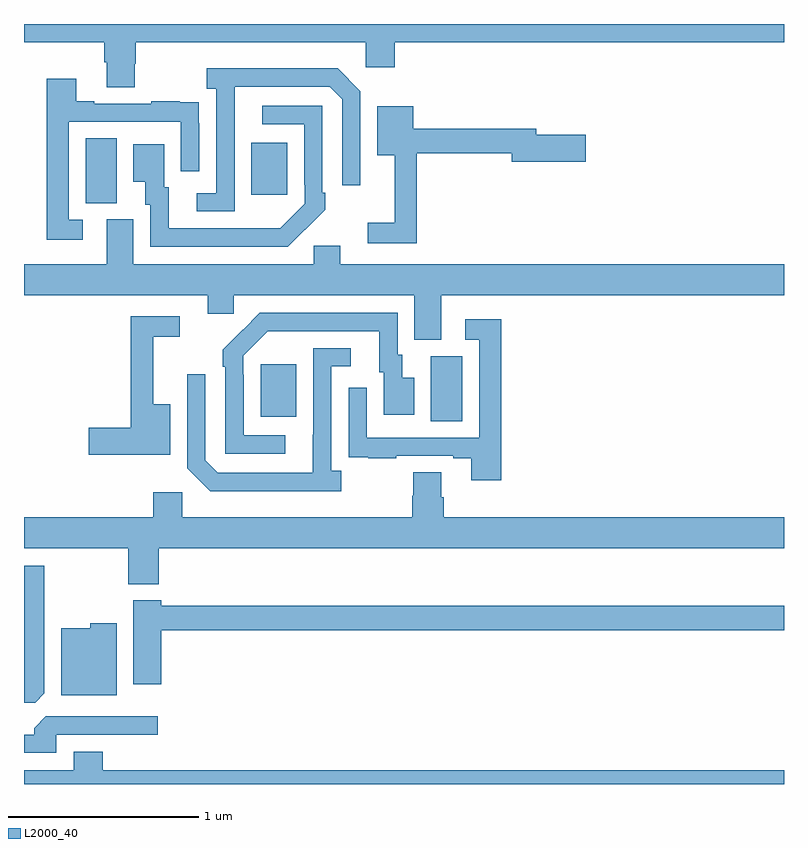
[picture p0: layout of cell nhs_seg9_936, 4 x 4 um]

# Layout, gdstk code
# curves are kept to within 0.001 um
import gdstk
lib = gdstk.Library(unit=1e-6, precision=1e-09)
def R(c, l, rs):  # rectangles x0, y0, x1, y1
    for r in rs: c.add(gdstk.rectangle(r[:2], r[2:], *l))
def P(c, l, *ps):  # polygons
    for p in ps: c.add(gdstk.Polygon(p, *l))
L2000_40 = (2000, 40)

nhs_seg9_936 = lib.new_cell('nhs_seg9_936')
R(nhs_seg9_936, L2000_40, [(163.142,1210.408,163.306,1210.752), (162.245,1210.433,162.433,1210.708), (161.324,1211.557,161.488,1211.9), (162.197,1211.601,162.385,1211.875)])
P(nhs_seg9_936, L2000_40, [(161.583,1212.291),(161.588,1212.291),(161.588,1212.404),(162.798,1212.404),(162.798,1212.273),(162.95,1212.273),(162.95,1212.404),(165,1212.404),(165,1212.5),(161,1212.5),(161,1212.404),(161.423,1212.404),(161.423,1212.298),(161.435,1212.298),(161.435,1212.166),(161.583,1212.166)],
  [(162.108,1211.971),(162.109,1212.171),(162.609,1212.171),(162.675,1212.105),(162.675,1211.652),(162.771,1211.652),(162.771,1212.147),(162.65,1212.268),(161.961,1212.268),(161.961,1212.158),(162.012,1212.158),(162.012,1211.61),(161.91,1211.61),(161.91,1211.514),(162.108,1211.514)],
  [(161.308,1211.469),(161.235,1211.469),(161.235,1211.985),(161.826,1211.985),(161.826,1211.724),(161.922,1211.724),(161.922,1211.978),(161.921,1211.978),(161.921,1212.087),(161.819,1212.087),(161.819,1212.094),(161.671,1212.094),(161.671,1212.081),(161.371,1212.081),(161.371,1212.094),(161.275,1212.094),(161.275,1212.211),(161.119,1212.211),(161.119,1211.364),(161.308,1211.364)],
  [(162.479,1211.419),(162.48,1211.418),(162.585,1211.523),(162.585,1211.611),(162.57,1211.611),(162.57,1212.069),(162.255,1212.069),(162.255,1211.973),(162.474,1211.973),(162.474,1211.653),(162.477,1211.653),(162.477,1211.553),(162.349,1211.425),(161.761,1211.424),(161.761,1211.64),(161.737,1211.64),(161.737,1211.866),(161.576,1211.866),(161.576,1211.669),(161.639,1211.669),(161.639,1211.55),(161.664,1211.55),(161.664,1211.328),(162.388,1211.328)],
  [(163.067,1211.821),(163.568,1211.821),(163.568,1211.774),(163.957,1211.774),(163.957,1211.916),(163.696,1211.916),(163.696,1211.95),(163.048,1211.95),(163.048,1212.067),(162.86,1212.067),(162.86,1211.81),(162.95,1211.81),(162.95,1211.455),(162.81,1211.455),(162.81,1211.346),(163.067,1211.346)],
  [(162.664,1211.334),(162.525,1211.334),(162.525,1211.236),(161.575,1211.236),(161.575,1211.472),(161.435,1211.472),(161.435,1211.236),(161,1211.236),(161,1211.072),(161.966,1211.072),(161.966,1210.974),(162.105,1210.974),(162.105,1211.072),(163.055,1211.072),(163.055,1210.837),(163.195,1210.837),(163.195,1211.072),(165,1211.072),(165,1211.236),(162.664,1211.236)],
  [(162.376,1210.335),(162.156,1210.335),(162.156,1210.655),(162.153,1210.655),(162.153,1210.755),(162.282,1210.884),(162.869,1210.884),(162.869,1210.668),(162.893,1210.668),(162.893,1210.443),(163.054,1210.443),(163.054,1210.639),(162.991,1210.639),(162.991,1210.758),(162.966,1210.758),(162.966,1210.98),(162.242,1210.98),(162.045,1210.785),(162.045,1210.697),(162.06,1210.697),(162.06,1210.239),(162.376,1210.239)],
  [(161.77,1210.498),(161.681,1210.498),(161.681,1210.854),(161.821,1210.854),(161.821,1210.962),(161.563,1210.962),(161.563,1210.376),(161.34,1210.376),(161.34,1210.234),(161.77,1210.234)],
  [(163.511,1210.945),(163.323,1210.945),(163.323,1210.839),(163.395,1210.839),(163.395,1210.323),(162.804,1210.323),(162.804,1210.585),(162.708,1210.585),(162.708,1210.33),(162.709,1210.33),(162.709,1210.221),(162.811,1210.221),(162.811,1210.215),(162.959,1210.215),(162.959,1210.227),(163.259,1210.227),(163.259,1210.215),(163.355,1210.215),(163.355,1210.098),(163.511,1210.098)],
  [(162.67,1210.15),(162.618,1210.15),(162.618,1210.698),(162.721,1210.698),(162.721,1210.794),(162.522,1210.794),(162.521,1210.137),(162.021,1210.137),(161.955,1210.203),(161.955,1210.657),(161.859,1210.657),(161.859,1210.161),(161.98,1210.04),(162.67,1210.04)],
  [(161.708,1209.74),(165,1209.74),(165,1209.904),(163.208,1209.904),(163.208,1210.01),(163.195,1210.01),(163.195,1210.142),(163.048,1210.142),(163.048,1210.017),(163.043,1210.017),(163.043,1209.904),(161.832,1209.904),(161.832,1210.036),(161.681,1210.036),(161.681,1209.904),(161,1209.904),(161,1209.74),(161.548,1209.74),(161.548,1209.551),(161.708,1209.551)],
  [(161.107,1208.977),(161.107,1209.649),(161,1209.649),(161,1208.928),(161.058,1208.928)],
  [(161.723,1209.31),(165,1209.31),(165,1209.439),(161.723,1209.439),(161.723,1209.466),(161.576,1209.466),(161.576,1209.024),(161.723,1209.024)],
  [(161.488,1209.346),(161.349,1209.346),(161.349,1209.319),(161.195,1209.319),(161.195,1208.966),(161.488,1208.966)],
  [(161.169,1208.76),(161.704,1208.76),(161.704,1208.856),(161.115,1208.856),(161.054,1208.794),(161.054,1208.76),(161,1208.76),(161,1208.664),(161.169,1208.664)],
  [(161.261,1208.671),(161.261,1208.572),(161,1208.572),(161,1208.5),(165,1208.5),(165,1208.572),(161.414,1208.572),(161.414,1208.671)])

lib.write_gds('nhs_seg9_936.gds')
